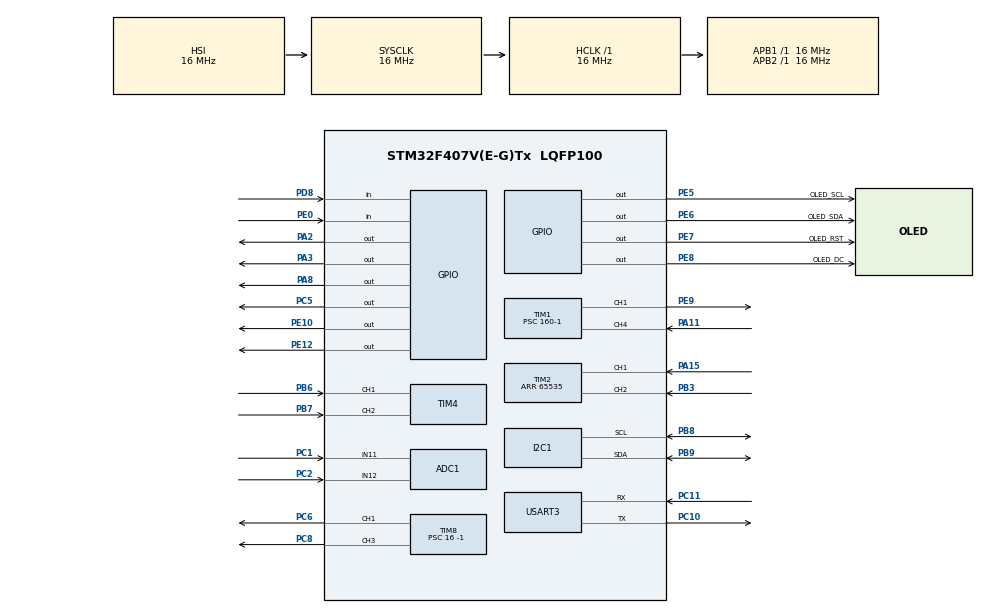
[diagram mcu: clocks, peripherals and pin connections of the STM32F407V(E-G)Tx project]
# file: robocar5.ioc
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ADC1.Channel-0\#ChannelRegularConversion=ADC_CHANNEL_11
ADC1.NbrOfConversionFlag=1
ADC1.Rank-0\#ChannelRegularConversion=1
ADC1.SamplingTime-0\#ChannelRegularConversion=ADC_SAMPLETIME_3CYCLES
ADC1.master=1
ADC2.Channel-0\#ChannelRegularConversion=ADC_CHANNEL_12
ADC2.NbrOfConversionFlag=1
ADC2.Rank-0\#ChannelRegularConversion=1
ADC2.SamplingTime-0\#ChannelRegularConversion=ADC_SAMPLETIME_3CYCLES
FREERTOS.Tasks01=defaultTask,24,128,StartDefaultTask,Default,NULL,Dynamic,NULL,NULL;UART_Task,8,128,StartUartTask,Default,NULL,Dynamic,NULL,NULL;ShowTask,8,128,StartShowTask,Default,NULL,Dynamic,NULL,NULL;PathBuilderTask,32,128,StartPathBuilderTask,Default,NULL,Dynamic,NULL,NULL;IRTask,8,128,IR,Default,NULL,Dynamic,NULL,NULL
FREERTOS.configUSE_NEWLIB_REENTRANT=1
Mcu.Family=STM32F4
Mcu.Name=STM32F407V(E-G)Tx
Mcu.Package=LQFP100
NVIC.PriorityGroup=NVIC_PRIORITYGROUP_4
NVIC.TIM1_CC_IRQn=true\:5\:0\:false\:false\:true\:true\:true\:true
NVIC.TIM8_TRG_COM_TIM14_IRQn=true\:15\:0\:false\:false\:true\:false\:false\:true
NVIC.TimeBase=TIM8_TRG_COM_TIM14_IRQn
NVIC.TimeBaseIP=TIM14
NVIC.USART3_IRQn=true\:5\:0\:false\:false\:true\:true\:true\:true
PA11.Signal=S_TIM1_CH4
PA15.Signal=S_TIM2_CH1_ETR
PA2.Signal=GPIO_Output
PA3.Signal=GPIO_Output
PA8.GPIO_ModeDefaultOutputPP=GPIO_MODE_OUTPUT_PP
PA8.Signal=GPIO_Output
PB3.Signal=S_TIM2_CH2
PB6.Signal=S_TIM4_CH1
PB7.Signal=S_TIM4_CH2
PB8.Mode=I2C
PB8.Signal=I2C1_SCL
PB9.Mode=I2C
PB9.Signal=I2C1_SDA
PC1.Signal=ADCx_IN11
PC10.Mode=Asynchronous
PC10.Signal=USART3_TX
PC11.Mode=Asynchronous
PC11.Signal=USART3_RX
PC2.Signal=ADCx_IN12
PC5.Signal=GPIO_Output
PC6.Signal=S_TIM8_CH1
PC8.Signal=S_TIM8_CH3
PD8.GPIO_PuPd=GPIO_PULLUP
PD8.Signal=GPIO_Input
PE0.GPIO_PuPd=GPIO_PULLUP
PE0.Signal=GPIO_Input
PE10.Signal=GPIO_Output
PE12.Signal=GPIO_Output
PE5.GPIO_Label=OLED_SCL
PE5.Signal=GPIO_Output
PE6.GPIO_Label=OLED_SDA
PE6.Signal=GPIO_Output
PE7.GPIO_Label=OLED_RST
PE7.Signal=GPIO_Output
PE8.GPIO_Label=OLED_DC
PE8.Signal=GPIO_Output
PE9.Signal=S_TIM1_CH1
ProjectManager.HeapSize=0x200
ProjectManager.StackSize=0x400
ProjectManager.TargetToolchain=STM32CubeIDE
RCC.AHBFreq_Value=16000000
RCC.APB1Freq_Value=16000000
RCC.APB2Freq_Value=16000000
RCC.CortexFreq_Value=16000000
RCC.HSE_VALUE=25000000
RCC.HSI_VALUE=16000000
RCC.LSE_VALUE=32768
RCC.SYSCLKFreq_VALUE=16000000
RCC.VCOOutputFreq_Value=192000000
SH.ADCx_IN11.0=ADC1_IN11,IN11
SH.ADCx_IN12.0=ADC1_IN12,IN12
SH.ADCx_IN12.1=ADC2_IN12,IN12
SH.S_TIM1_CH1.0=TIM1_CH1,PWM Generation1 CH1
SH.S_TIM1_CH4.0=TIM1_CH4,Input_Capture4_from_TI4
SH.S_TIM2_CH1_ETR.0=TIM2_CH1,Encoder_Interface
SH.S_TIM2_CH2.0=TIM2_CH2,Encoder_Interface
SH.S_TIM4_CH1.0=TIM4_CH1,Encoder_Interface
SH.S_TIM4_CH2.0=TIM4_CH2,Encoder_Interface
SH.S_TIM8_CH1.0=TIM8_CH1,PWM Generation1 CH1
SH.S_TIM8_CH3.0=TIM8_CH3,PWM Generation3 CH3
TIM1.Channel-Input_Capture4_from_TI4=TIM_CHANNEL_4
TIM1.Channel-PWM\ Generation1\ CH1=TIM_CHANNEL_1
TIM1.Period=1000-1
TIM1.Prescaler=160-1
TIM2.EncoderMode=TIM_ENCODERMODE_TI12
TIM2.IC1Filter=10
TIM2.IC2Filter=10
TIM2.Period=65535
TIM4.EncoderMode=TIM_ENCODERMODE_TI12
TIM8.Channel-PWM\ Generation1\ CH1=TIM_CHANNEL_1
TIM8.Channel-PWM\ Generation3\ CH3=TIM_CHANNEL_3
TIM8.Period=10000-1
TIM8.Prescaler=16 -1 
USART3.VirtualMode=VM_ASYNC
VP_FREERTOS_VS_CMSIS_V2.Mode=CMSIS_V2
VP_SYS_VS_tim14.Mode=TIM14
VP_TIM1_VS_ClockSourceINT.Mode=Internal
VP_TIM8_VS_ClockSourceINT.Mode=Internal
board=custom

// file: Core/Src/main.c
/* USER CODE BEGIN Header */
/**
  ******************************************************************************
  * @file           : main.c
  * @brief          : Main program body
  ******************************************************************************
  * @attention
  *
  * Copyright (c) 2022 STMicroelectronics.
  * All rights reserved.
  *
  * This software is licensed under terms that can be found in the LICENSE file
  * in the root directory of this software component.
  * If no LICENSE file comes with this software, it is provided AS-IS.
  *
  ******************************************************************************
  */
/* USER CODE END Header */
#include "main.h"
#include "cmsis_os.h"

/* USER CODE BEGIN Includes */
#include "stdlib.h"
#include "oled.h"
#include "encoder.h"
#include "motor.h"
#include "vehicleservo.h"
#include "diff.h"
#include "pid.h"
#include "speed.h"
#include "dist.h"
#include "uart.h"
#include "icm20948.h"
/* USER CODE END Includes */

/* USER CODE BEGIN PTD */
// read-only data (data that are taken from sensors)
typedef struct {
	encoder_control *motorLencoder;
	encoder_control *motorRencoder;
}Encoder_Data;

typedef struct {
	pid_control *motorLpid;
	pid_control *motorRpid;
	pid_control *anglepid;
}PID_Data;

typedef struct{
	motor_control *motorL;
	motor_control *motorR;
}Motor_Data;

typedef struct{
	vehicleservo_control *vehicleservo;
}VehicleServo_Data;

typedef struct{
	speed_subcontrol* motorLspeed;
	speed_subcontrol* motorRspeed;
	angle_subcontrol* servoangle;
	speed_control* mainspeed;
}Speed_Data;

typedef struct{
	float pid_kp_l;
	float pid_ki_l;
	float pid_kp_r;
	float pid_ki_r;
	float pid_kp_a;
	float pid_ki_a;
}Diff_Data;

// write-only data (data that are used mostly for controlling output Pheripheral )
typedef struct{
	uint8_t aRxBuffer[10];
    uint8_t aTxBuffer[10];
}UART_Data;

typedef struct{
	int stage;
	double distance;
	double distToObsEndtoEnd;
	double distToObsEdge;
	double distToObs;
	float ultrasensordist;
	int IRdistR;
	int IRdistL;
}Task2;

/* USER CODE END PTD */

ADC_HandleTypeDef hadc1;
ADC_HandleTypeDef hadc2;

I2C_HandleTypeDef hi2c1;

TIM_HandleTypeDef htim1;
TIM_HandleTypeDef htim2;
TIM_HandleTypeDef htim4;
TIM_HandleTypeDef htim8;

UART_HandleTypeDef huart3;

/* Definitions for defaultTask */
osThreadId_t defaultTaskHandle;
const osThreadAttr_t defaultTask_attributes = {
  .name = "defaultTask",
  .stack_size = 128 * 4,
  .priority = (osPriority_t) osPriorityNormal,
};
/* Definitions for UART_Task */
osThreadId_t UART_TaskHandle;
const osThreadAttr_t UART_Task_attributes = {
  .name = "UART_Task",
  .stack_size = 128 * 4,
  .priority = (osPriority_t) osPriorityLow,
};
/* Definitions for ShowTask */
osThreadId_t ShowTaskHandle;
const osThreadAttr_t ShowTask_attributes = {
  .name = "ShowTask",
  .stack_size = 128 * 4,
  .priority = (osPriority_t) osPriorityLow,
};
/* Definitions for PathBuilderTask */
osThreadId_t PathBuilderTaskHandle;
const osThreadAttr_t PathBuilderTask_attributes = {
  .name = "PathBuilderTask",
  .stack_size = 128 * 4,
  .priority = (osPriority_t) osPriorityAboveNormal,
};
/* Definitions for IRTask */
osThreadId_t IRTaskHandle;
const osThreadAttr_t IRTask_attributes = {
  .name = "IRTask",
  .stack_size = 128 * 4,
  .priority = (osPriority_t) osPriorityLow,
};
/* USER CODE BEGIN PV */

Encoder_Data encoderData;
PID_Data pidData;
Motor_Data motorData;
Diff_Data diffData;
UART_Data uartData;

Speed_Data speedData;
VehicleServo_Data vehicleservoData;

Task2 task2data;

/* USER CODE END PV */

void SystemClock_Config(void);
static void MX_GPIO_Init(void);
static void MX_TIM8_Init(void);
static void MX_USART3_UART_Init(void);
static void MX_TIM2_Init(void);
static void MX_TIM1_Init(void);
static void MX_TIM4_Init(void);
static void MX_I2C1_Init(void);
static void MX_ADC1_Init(void);
static void MX_ADC2_Init(void);
void StartDefaultTask(void *argument);
void StartUartTask(void *argument);
void StartShowTask(void *argument);
void StartPathBuilderTask(void *argument);
void IR(void *argument);

/* USER CODE BEGIN PFP */
void uart_switch(uint8_t* buff);
void run_movement_command(void);
/* USER CODE END PFP */

/* USER CODE BEGIN 0 */

int isnumchar(uint8_t cell){
	if (cell < 0x3a && cell > 0x29) return 1;
	else return 0;
}

int isalphachar(uint8_t cell){
	if (cell < 0x5b && cell > 0x40) return 1;
	else if (cell < 0x7b && cell > 0x60) return 1;
	else return 0;
}

void uart_switch(uint8_t * buff){
	  char aRead1[4];
	  char aRead2[4];

	  if 		(isalphachar(buff[0])
			  && isalphachar(buff[5])) {

		  sprintf(aRead1,"%c%c%c%c", (uartData.aRxBuffer[1]),(uartData.aRxBuffer[2]),(uartData.aRxBuffer[3]),(uartData.aRxBuffer[4]));
		  int n = atoi(aRead1);  //now n is 49 50 48 48

		  sprintf(aRead2,"%c%c%c%c", (uartData.aRxBuffer[6]),(uartData.aRxBuffer[7]),(uartData.aRxBuffer[8]),(uartData.aRxBuffer[9]));
		  int m = atoi(aRead2);  //now n is 49 50 48 48

		 switch(buff[0]){

			  case UART_FORWARD:
					//n = dist_get_motor_diststeps((double) n,0);
				  //icm20948_init(&hi2c1);
				speed_control_path_setup(speedData.mainspeed, 20, 100, (double) n, ((float)m) / 100,0,0,PATH_MODE_STR);
				speed_control_path_start(speedData.mainspeed);
				break;
			  case UART_FORWARD_RIGHT:
				//n = dist_get_motor_diststeps((double) n,0);
				  //icm20948_init(&hi2c1);
				speed_control_path_setup(speedData.mainspeed, 20, 100, (double) n, ((float)m) / 100,90,10,PATH_MODE_CURVE);
				speed_control_path_start(speedData.mainspeed);
				break;

			  case UART_FORWARD_LEFT:
				//n = dist_get_motor_diststeps((double) n,0);
				  //icm20948_init(&hi2c1);
				speed_control_path_setup(speedData.mainspeed, 20, 100, (double) n, -((float)m) / 100,90,10,PATH_MODE_CURVE);
				speed_control_path_start(speedData.mainspeed);
				break;

			  case UART_REVERSE:
				  //icm20948_init(&hi2c1);
				speed_control_path_setup(speedData.mainspeed, -20, 100, (double) n, ((float)m) / 100,0,0,PATH_MODE_STR);
				speed_control_path_start(speedData.mainspeed);
				break;

			  case UART_REVERSE_RIGHT:
				 // icm20948_init(&hi2c1);
				//n = dist_get_motor_diststeps((double) n,0);
				speed_control_path_setup(speedData.mainspeed, -20, 100, (double) n, ((float)m) / 100,90,10,PATH_MODE_CURVE);
				speed_control_path_start(speedData.mainspeed);
				break;

			  case UART_REVERSE_LEFT:
				 // icm20948_init(&hi2c1);
				//n = dist_get_motor_diststeps((double) n,0);
				speed_control_path_setup(speedData.mainspeed, -20, 100, (double) n, -((float)m) / 100,90,10,PATH_MODE_CURVE);
				speed_control_path_start(speedData.mainspeed);
				break;

			  case UART_GYRO_BIAS:
			    angle_subcontrol_set_leftanglemul(speedData.servoangle, (float) n / (float) 100 );
			    angle_subcontrol_set_rightanglemul(speedData.servoangle, (float) m / (float) 100);
				HAL_UART_Transmit(&huart3, (uint8_t *) "0000000000", 10, 0xFFFF);
				break;

			  case UART_AUTOCORRECT_TOGGLE:

				speed_control_toggle_correction(speedData.mainspeed,(float) n);
				HAL_UART_Transmit(&huart3, (uint8_t *) "0000000000", 10, 0xFFFF);
				break;
			  case UART_PROPORTION:

				diffData.pid_kp_l = (float) n / (float) 100;
				diffData.pid_kp_r = (float) m / (float) 100;
				HAL_UART_Transmit(&huart3, (uint8_t *) "0000000000", 10, 0xFFFF);
				break;

			  case UART_INTEGRAL:

				diffData.pid_ki_l = (float) n / (float) 10000;
				diffData.pid_ki_r = (float) m / (float) 10000;
				HAL_UART_Transmit(&huart3, (uint8_t *) "0000000000", 10, 0xFFFF);

				break;

			  case UART_START_TASK2:
				  task2data.stage = 0;

				  break;
			  case UART_POLL:
				  task2data.ultrasensordist	= m;
				  break;

			  default:
				HAL_UART_Transmit(&huart3, (uint8_t *) "FFFFFFFFFF", 10, 0xFFFF);

			}

	  }

}

/* USER CODE END 0 */

int main(void)
{

  /* MCU Configuration--------------------------------------------------------*/

  /* Reset of all peripherals, Initializes the Flash interface and the Systick. */
  HAL_Init();

  /* Configure the system clock */
  SystemClock_Config();

  /* Initialize all configured peripherals */
  MX_GPIO_Init();
  MX_TIM8_Init();
  MX_USART3_UART_Init();
  MX_TIM2_Init();
  MX_TIM1_Init();
  MX_TIM4_Init();
  MX_I2C1_Init();
  MX_ADC1_Init();
  MX_ADC2_Init();
  /* USER CODE BEGIN 2 */
  HAL_UART_Receive_IT(&huart3,  (uint8_t *) uartData.aRxBuffer, 10);
  /* USER CODE END 2 */

  /* Init scheduler */
  osKernelInitialize();

  /* Create the thread(s) */
  /* creation of defaultTask */
  defaultTaskHandle = osThreadNew(StartDefaultTask, NULL, &defaultTask_attributes);

  /* creation of UART_Task */
  UART_TaskHandle = osThreadNew(StartUartTask, NULL, &UART_Task_attributes);

  /* creation of ShowTask */
  ShowTaskHandle = osThreadNew(StartShowTask, NULL, &ShowTask_attributes);

  /* creation of PathBuilderTask */
  PathBuilderTaskHandle = osThreadNew(StartPathBuilderTask, NULL, &PathBuilderTask_attributes);

  /* creation of IRTask */
  IRTaskHandle = osThreadNew(IR, NULL, &IRTask_attributes);

  /* Start scheduler */
  osKernelStart();

  /* We should never get here as control is now taken by the scheduler */
  /* Infinite loop */
  while (1)
  {

  }
}

void SystemClock_Config(void)
{
  RCC_OscInitTypeDef RCC_OscInitStruct = {0};
  RCC_ClkInitTypeDef RCC_ClkInitStruct = {0};

  /** Configure the main internal regulator output voltage
  */
  __HAL_RCC_PWR_CLK_ENABLE();
  __HAL_PWR_VOLTAGESCALING_CONFIG(PWR_REGULATOR_VOLTAGE_SCALE1);
  /** Initializes the RCC Oscillators according to the specified parameters
  * in the RCC_OscInitTypeDef structure.
  */
  RCC_OscInitStruct.OscillatorType = RCC_OSCILLATORTYPE_HSI;
  RCC_OscInitStruct.HSIState = RCC_HSI_ON;
  RCC_OscInitStruct.HSICalibrationValue = RCC_HSICALIBRATION_DEFAULT;
  RCC_OscInitStruct.PLL.PLLState = RCC_PLL_NONE;
  if (HAL_RCC_OscConfig(&RCC_OscInitStruct) != HAL_OK)
  {
    Error_Handler();
  }
  /** Initializes the CPU, AHB and APB buses clocks
  */
  RCC_ClkInitStruct.ClockType = RCC_CLOCKTYPE_HCLK|RCC_CLOCKTYPE_SYSCLK
                              |RCC_CLOCKTYPE_PCLK1|RCC_CLOCKTYPE_PCLK2;
  RCC_ClkInitStruct.SYSCLKSource = RCC_SYSCLKSOURCE_HSI;
  RCC_ClkInitStruct.AHBCLKDivider = RCC_SYSCLK_DIV1;
  RCC_ClkInitStruct.APB1CLKDivider = RCC_HCLK_DIV1;
  RCC_ClkInitStruct.APB2CLKDivider = RCC_HCLK_DIV1;

  if (HAL_RCC_ClockConfig(&RCC_ClkInitStruct, FLASH_LATENCY_0) != HAL_OK)
  {
    Error_Handler();
  }
}

static void MX_ADC1_Init(void)
{

  ADC_ChannelConfTypeDef sConfig = {0};

  /** Configure the global features of the ADC (Clock, Resolution, Data Alignment and number of conversion)
  */
  hadc1.Instance = ADC1;
  hadc1.Init.ClockPrescaler = ADC_CLOCK_SYNC_PCLK_DIV2;
  hadc1.Init.Resolution = ADC_RESOLUTION_12B;
  hadc1.Init.ScanConvMode = DISABLE;
  hadc1.Init.ContinuousConvMode = DISABLE;
  hadc1.Init.DiscontinuousConvMode = DISABLE;
  hadc1.Init.ExternalTrigConvEdge = ADC_EXTERNALTRIGCONVEDGE_NONE;
  hadc1.Init.ExternalTrigConv = ADC_SOFTWARE_START;
  hadc1.Init.DataAlign = ADC_DATAALIGN_RIGHT;
  hadc1.Init.NbrOfConversion = 1;
  hadc1.Init.DMAContinuousRequests = DISABLE;
  hadc1.Init.EOCSelection = ADC_EOC_SINGLE_CONV;
  if (HAL_ADC_Init(&hadc1) != HAL_OK)
  {
    Error_Handler();
  }
  /** Configure for the selected ADC regular channel its corresponding rank in the sequencer and its sample time.
  */
  sConfig.Channel = ADC_CHANNEL_11;
  sConfig.Rank = 1;
  sConfig.SamplingTime = ADC_SAMPLETIME_3CYCLES;
  if (HAL_ADC_ConfigChannel(&hadc1, &sConfig) != HAL_OK)
  {
    Error_Handler();
  }

}

static void MX_ADC2_Init(void)
{

  ADC_ChannelConfTypeDef sConfig = {0};

  /** Configure the global features of the ADC (Clock, Resolution, Data Alignment and number of conversion)
  */
  hadc2.Instance = ADC2;
  hadc2.Init.ClockPrescaler = ADC_CLOCK_SYNC_PCLK_DIV2;
  hadc2.Init.Resolution = ADC_RESOLUTION_12B;
  hadc2.Init.ScanConvMode = DISABLE;
  hadc2.Init.ContinuousConvMode = DISABLE;
  hadc2.Init.DiscontinuousConvMode = DISABLE;
  hadc2.Init.ExternalTrigConvEdge = ADC_EXTERNALTRIGCONVEDGE_NONE;
  hadc2.Init.ExternalTrigConv = ADC_SOFTWARE_START;
  hadc2.Init.DataAlign = ADC_DATAALIGN_RIGHT;
  hadc2.Init.NbrOfConversion = 1;
  hadc2.Init.DMAContinuousRequests = DISABLE;
  hadc2.Init.EOCSelection = ADC_EOC_SINGLE_CONV;
  if (HAL_ADC_Init(&hadc2) != HAL_OK)
  {
    Error_Handler();
  }
  /** Configure for the selected ADC regular channel its corresponding rank in the sequencer and its sample time.
  */
  sConfig.Channel = ADC_CHANNEL_12;
  sConfig.Rank = 1;
  sConfig.SamplingTime = ADC_SAMPLETIME_3CYCLES;
  if (HAL_ADC_ConfigChannel(&hadc2, &sConfig) != HAL_OK)
  {
    Error_Handler();
  }

}

static void MX_I2C1_Init(void)
{

  hi2c1.Instance = I2C1;
  hi2c1.Init.ClockSpeed = 100000;
  hi2c1.Init.DutyCycle = I2C_DUTYCYCLE_2;
  hi2c1.Init.OwnAddress1 = 0;
  hi2c1.Init.AddressingMode = I2C_ADDRESSINGMODE_7BIT;
  hi2c1.Init.DualAddressMode = I2C_DUALADDRESS_DISABLE;
  hi2c1.Init.OwnAddress2 = 0;
  hi2c1.Init.GeneralCallMode = I2C_GENERALCALL_DISABLE;
  hi2c1.Init.NoStretchMode = I2C_NOSTRETCH_DISABLE;
  if (HAL_I2C_Init(&hi2c1) != HAL_OK)
  {
    Error_Handler();
  }

}

static void MX_TIM1_Init(void)
{

  TIM_ClockConfigTypeDef sClockSourceConfig = {0};
  TIM_MasterConfigTypeDef sMasterConfig = {0};
  TIM_OC_InitTypeDef sConfigOC = {0};
  TIM_IC_InitTypeDef sConfigIC = {0};
  TIM_BreakDeadTimeConfigTypeDef sBreakDeadTimeConfig = {0};

  htim1.Instance = TIM1;
  htim1.Init.Prescaler = 160-1;
  htim1.Init.CounterMode = TIM_COUNTERMODE_UP;
  htim1.Init.Period = 1000-1;
  htim1.Init.ClockDivision = TIM_CLOCKDIVISION_DIV1;
  htim1.Init.RepetitionCounter = 0;
  htim1.Init.AutoReloadPreload = TIM_AUTORELOAD_PRELOAD_DISABLE;
  if (HAL_TIM_Base_Init(&htim1) != HAL_OK)
  {
    Error_Handler();
  }
  sClockSourceConfig.ClockSource = TIM_CLOCKSOURCE_INTERNAL;
  if (HAL_TIM_ConfigClockSource(&htim1, &sClockSourceConfig) != HAL_OK)
  {
    Error_Handler();
  }
  if (HAL_TIM_PWM_Init(&htim1) != HAL_OK)
  {
    Error_Handler();
  }
  if (HAL_TIM_IC_Init(&htim1) != HAL_OK)
  {
    Error_Handler();
  }
  sMasterConfig.MasterOutputTrigger = TIM_TRGO_RESET;
  sMasterConfig.MasterSlaveMode = TIM_MASTERSLAVEMODE_DISABLE;
  if (HAL_TIMEx_MasterConfigSynchronization(&htim1, &sMasterConfig) != HAL_OK)
  {
    Error_Handler();
  }
  sConfigOC.OCMode = TIM_OCMODE_PWM1;
  sConfigOC.Pulse = 0;
  sConfigOC.OCPolarity = TIM_OCPOLARITY_HIGH;
  sConfigOC.OCNPolarity = TIM_OCNPOLARITY_HIGH;
  sConfigOC.OCFastMode = TIM_OCFAST_DISABLE;
  sConfigOC.OCIdleState = TIM_OCIDLESTATE_RESET;
  sConfigOC.OCNIdleState = TIM_OCNIDLESTATE_RESET;
  if (HAL_TIM_PWM_ConfigChannel(&htim1, &sConfigOC, TIM_CHANNEL_1) != HAL_OK)
  {
    Error_Handler();
  }
  sConfigIC.ICPolarity = TIM_INPUTCHANNELPOLARITY_RISING;
  sConfigIC.ICSelection = TIM_ICSELECTION_DIRECTTI;
  sConfigIC.ICPrescaler = TIM_ICPSC_DIV1;
  sConfigIC.ICFilter = 0;
  if (HAL_TIM_IC_ConfigChannel(&htim1, &sConfigIC, TIM_CHANNEL_4) != HAL_OK)
  {
    Error_Handler();
  }
  sBreakDeadTimeConfig.OffStateRunMode = TIM_OSSR_DISABLE;
  sBreakDeadTimeConfig.OffStateIDLEMode = TIM_OSSI_DISABLE;
  sBreakDeadTimeConfig.LockLevel = TIM_LOCKLEVEL_OFF;
  sBreakDeadTimeConfig.DeadTime = 0;
  sBreakDeadTimeConfig.BreakState = TIM_BREAK_DISABLE;
  sBreakDeadTimeConfig.BreakPolarity = TIM_BREAKPOLARITY_HIGH;
  sBreakDeadTimeConfig.AutomaticOutput = TIM_AUTOMATICOUTPUT_DISABLE;
  if (HAL_TIMEx_ConfigBreakDeadTime(&htim1, &sBreakDeadTimeConfig) != HAL_OK)
  {
    Error_Handler();
  }
  HAL_TIM_MspPostInit(&htim1);

}

static void MX_TIM2_Init(void)
{

  TIM_Encoder_InitTypeDef sConfig = {0};
  TIM_MasterConfigTypeDef sMasterConfig = {0};

  htim2.Instance = TIM2;
  htim2.Init.Prescaler = 0;
  htim2.Init.CounterMode = TIM_COUNTERMODE_UP;
  htim2.Init.Period = 65535;
  htim2.Init.ClockDivision = TIM_CLOCKDIVISION_DIV1;
  htim2.Init.AutoReloadPreload = TIM_AUTORELOAD_PRELOAD_DISABLE;
  sConfig.EncoderMode = TIM_ENCODERMODE_TI12;
  sConfig.IC1Polarity = TIM_ICPOLARITY_RISING;
  sConfig.IC1Selection = TIM_ICSELECTION_DIRECTTI;
  sConfig.IC1Prescaler = TIM_ICPSC_DIV1;
  sConfig.IC1Filter = 10;
  sConfig.IC2Polarity = TIM_ICPOLARITY_RISING;
  sConfig.IC2Selection = TIM_ICSELECTION_DIRECTTI;
  sConfig.IC2Prescaler = TIM_ICPSC_DIV1;
  sConfig.IC2Filter = 10;
  if (HAL_TIM_Encoder_Init(&htim2, &sConfig) != HAL_OK)
  {
    Error_Handler();
  }
  sMasterConfig.MasterOutputTrigger = TIM_TRGO_RESET;
  sMasterConfig.MasterSlaveMode = TIM_MASTERSLAVEMODE_DISABLE;
  if (HAL_TIMEx_MasterConfigSynchronization(&htim2, &sMasterConfig) != HAL_OK)
  {
    Error_Handler();
  }

}

static void MX_TIM4_Init(void)
{

  TIM_Encoder_InitTypeDef sConfig = {0};
  TIM_MasterConfigTypeDef sMasterConfig = {0};

  htim4.Instance = TIM4;
  htim4.Init.Prescaler = 0;
  htim4.Init.CounterMode = TIM_COUNTERMODE_UP;
  htim4.Init.Period = 65535;
  htim4.Init.ClockDivision = TIM_CLOCKDIVISION_DIV1;
  htim4.Init.AutoReloadPreload = TIM_AUTORELOAD_PRELOAD_DISABLE;
  sConfig.EncoderMode = TIM_ENCODERMODE_TI12;
  sConfig.IC1Polarity = TIM_ICPOLARITY_RISING;
  sConfig.IC1Selection = TIM_ICSELECTION_DIRECTTI;
  sConfig.IC1Prescaler = TIM_ICPSC_DIV1;
  sConfig.IC1Filter = 0;
  sConfig.IC2Polarity = TIM_ICPOLARITY_RISING;
  sConfig.IC2Selection = TIM_ICSELECTION_DIRECTTI;
  sConfig.IC2Prescaler = TIM_ICPSC_DIV1;
  sConfig.IC2Filter = 0;
  if (HAL_TIM_Encoder_Init(&htim4, &sConfig) != HAL_OK)
  {
    Error_Handler();
  }
  sMasterConfig.MasterOutputTrigger = TIM_TRGO_RESET;
  sMasterConfig.MasterSlaveMode = TIM_MASTERSLAVEMODE_DISABLE;
  if (HAL_TIMEx_MasterConfigSynchronization(&htim4, &sMasterConfig) != HAL_OK)
  {
    Error_Handler();
  }

}

static void MX_TIM8_Init(void)
{

  TIM_ClockConfigTypeDef sClockSourceConfig = {0};
  TIM_MasterConfigTypeDef sMasterConfig = {0};
  TIM_OC_InitTypeDef sConfigOC = {0};
  TIM_BreakDeadTimeConfigTypeDef sBreakDeadTimeConfig = {0};

  htim8.Instance = TIM8;
  htim8.Init.Prescaler = 16 -1 ;
  htim8.Init.CounterMode = TIM_COUNTERMODE_UP;
  htim8.Init.Period = 10000-1;
  htim8.Init.ClockDivision = TIM_CLOCKDIVISION_DIV1;
  htim8.Init.RepetitionCounter = 0;
  htim8.Init.AutoReloadPreload = TIM_AUTORELOAD_PRELOAD_DISABLE;
  if (HAL_TIM_Base_Init(&htim8) != HAL_OK)
  {
    Error_Handler();
  }
  sClockSourceConfig.ClockSource = TIM_CLOCKSOURCE_INTERNAL;
  if (HAL_TIM_ConfigClockSource(&htim8, &sClockSourceConfig) != HAL_OK)
  {
    Error_Handler();
  }
  if (HAL_TIM_PWM_Init(&htim8) != HAL_OK)
  {
    Error_Handler();
  }
  sMasterConfig.MasterOutputTrigger = TIM_TRGO_RESET;
  sMasterConfig.MasterSlaveMode = TIM_MASTERSLAVEMODE_DISABLE;
  if (HAL_TIMEx_MasterConfigSynchronization(&htim8, &sMasterConfig) != HAL_OK)
  {
    Error_Handler();
  }
  sConfigOC.OCMode = TIM_OCMODE_PWM1;
  sConfigOC.Pulse = 0;
  sConfigOC.OCPolarity = TIM_OCPOLARITY_HIGH;
  sConfigOC.OCNPolarity = TIM_OCNPOLARITY_HIGH;
  sConfigOC.OCFastMode = TIM_OCFAST_DISABLE;
  sConfigOC.OCIdleState = TIM_OCIDLESTATE_RESET;
  sConfigOC.OCNIdleState = TIM_OCNIDLESTATE_RESET;
  if (HAL_TIM_PWM_ConfigChannel(&htim8, &sConfigOC, TIM_CHANNEL_1) != HAL_OK)
  {
    Error_Handler();
  }
  if (HAL_TIM_PWM_ConfigChannel(&htim8, &sConfigOC, TIM_CHANNEL_3) != HAL_OK)
  {
    Error_Handler();
  }
  sBreakDeadTimeConfig.OffStateRunMode = TIM_OSSR_DISABLE;
  sBreakDeadTimeConfig.OffStateIDLEMode = TIM_OSSI_DISABLE;
  sBreakDeadTimeConfig.LockLevel = TIM_LOCKLEVEL_OFF;
  sBreakDeadTimeConfig.DeadTime = 0;
  sBreakDeadTimeConfig.BreakState = TIM_BREAK_DISABLE;
  sBreakDeadTimeConfig.BreakPolarity = TIM_BREAKPOLARITY_HIGH;
  sBreakDeadTimeConfig.AutomaticOutput = TIM_AUTOMATICOUTPUT_DISABLE;
  if (HAL_TIMEx_ConfigBreakDeadTime(&htim8, &sBreakDeadTimeConfig) != HAL_OK)
  {
    Error_Handler();
  }
  HAL_TIM_MspPostInit(&htim8);

}

static void MX_USART3_UART_Init(void)
{

  huart3.Instance = USART3;
  huart3.Init.BaudRate = 115200;
  huart3.Init.WordLength = UART_WORDLENGTH_8B;
  huart3.Init.StopBits = UART_STOPBITS_1;
  huart3.Init.Parity = UART_PARITY_NONE;
  huart3.Init.Mode = UART_MODE_TX_RX;
  huart3.Init.HwFlowCtl = UART_HWCONTROL_NONE;
  huart3.Init.OverSampling = UART_OVERSAMPLING_16;
  if (HAL_UART_Init(&huart3) != HAL_OK)
  {
    Error_Handler();
  }

}

static void MX_GPIO_Init(void)
{
  GPIO_InitTypeDef GPIO_InitStruct = {0};

  /* GPIO Ports Clock Enable */
  __HAL_RCC_GPIOE_CLK_ENABLE();
  __HAL_RCC_GPIOC_CLK_ENABLE();
  __HAL_RCC_GPIOA_CLK_ENABLE();
  __HAL_RCC_GPIOD_CLK_ENABLE();
  __HAL_RCC_GPIOB_CLK_ENABLE();

  /*Configure GPIO pin Output Level */
  HAL_GPIO_WritePin(GPIOE, OLED_SCL_Pin|OLED_SDA_Pin|OLED_RST_Pin|OLED_DC_Pin
                          |GPIO_PIN_10|GPIO_PIN_12, GPIO_PIN_RESET);

  /*Configure GPIO pin Output Level */
  HAL_GPIO_WritePin(GPIOA, GPIO_PIN_2|GPIO_PIN_3|GPIO_PIN_8, GPIO_PIN_RESET);

  /*Configure GPIO pin Output Level */
  HAL_GPIO_WritePin(GPIOC, GPIO_PIN_5, GPIO_PIN_RESET);

  /*Configure GPIO pins : OLED_SCL_Pin OLED_SDA_Pin OLED_RST_Pin OLED_DC_Pin
                           PE10 PE12 */
  GPIO_InitStruct.Pin = OLED_SCL_Pin|OLED_SDA_Pin|OLED_RST_Pin|OLED_DC_Pin
                          |GPIO_PIN_10|GPIO_PIN_12;
  GPIO_InitStruct.Mode = GPIO_MODE_OUTPUT_PP;
  GPIO_InitStruct.Pull = GPIO_NOPULL;
  GPIO_InitStruct.Speed = GPIO_SPEED_FREQ_LOW;
  HAL_GPIO_Init(GPIOE, &GPIO_InitStruct);

  /*Configure GPIO pins : PA2 PA3 PA8 */
  GPIO_InitStruct.Pin = GPIO_PIN_2|GPIO_PIN_3|GPIO_PIN_8;
  GPIO_InitStruct.Mode = GPIO_MODE_OUTPUT_PP;
  GPIO_InitStruct.Pull = GPIO_NOPULL;
  GPIO_InitStruct.Speed = GPIO_SPEED_FREQ_LOW;
  HAL_GPIO_Init(GPIOA, &GPIO_InitStruct);

  /*Configure GPIO pin : PC5 */
  GPIO_InitStruct.Pin = GPIO_PIN_5;
  GPIO_InitStruct.Mode = GPIO_MODE_OUTPUT_PP;
  GPIO_InitStruct.Pull = GPIO_NOPULL;
  GPIO_InitStruct.Speed = GPIO_SPEED_FREQ_LOW;
  HAL_GPIO_Init(GPIOC, &GPIO_InitStruct);

  /*Configure GPIO pin : PD8 */
  GPIO_InitStruct.Pin = GPIO_PIN_8;
  GPIO_InitStruct.Mode = GPIO_MODE_INPUT;
  GPIO_InitStruct.Pull = GPIO_PULLUP;
  HAL_GPIO_Init(GPIOD, &GPIO_InitStruct);

  /*Configure GPIO pin : PE0 */
  GPIO_InitStruct.Pin = GPIO_PIN_0;
  GPIO_InitStruct.Mode = GPIO_MODE_INPUT;
  GPIO_InitStruct.Pull = GPIO_PULLUP;
  HAL_GPIO_Init(GPIOE, &GPIO_InitStruct);

}

/* USER CODE BEGIN 4 */

uint16_t Value1, Value2, Time, State, Distance = 0;

void HAL_TIM_IC_CaptureCallback(TIM_HandleTypeDef *htim1)											   // Input Capture Mode
{
		if (State == 0)
		{
			Value1 = HAL_TIM_ReadCapturedValue(htim1, TIM_CHANNEL_4); 								   // Save First Value at Value1 ( RISING EDGE )
			State = 1;

			__HAL_TIM_SET_CAPTUREPOLARITY(htim1, TIM_CHANNEL_4, TIM_INPUTCHANNELPOLARITY_FALLING);	   // Change Capture Polarity to FALLING EDGE
		}

		else if (State == 1)
		{
			Value2 = HAL_TIM_ReadCapturedValue(htim1, TIM_CHANNEL_4);  								   // Save Second Value at Value2 ( FALLING EDGE )

			if (Value2 > Value1)
			{
				Time = Value2-Value1;
			}

			else if (Value1 > Value2)
			{
				Time = (65536 - Value1) + Value2;
			}

			Distance = Time * 0.034 / 2;
			State = 0;

			__HAL_TIM_SET_CAPTUREPOLARITY(htim1, TIM_CHANNEL_4, TIM_INPUTCHANNELPOLARITY_RISING);	   // Change Capture Polarity to RISING EDGE
		}
}

void HCSR04_Read (void)
{
	HAL_GPIO_WritePin(GPIOA, GPIO_PIN_8, GPIO_PIN_SET);
	HAL_Delay(10);
	HAL_GPIO_WritePin(GPIOA, GPIO_PIN_8, GPIO_PIN_RESET);
}

int distance = 0;

void HAL_UART_RxCpltCallback(UART_HandleTypeDef *huart)
{
	//HAL_UART_Transmit(&huart3, (uint8_t *) uartData.aRxBuffer, 10, 0xFFFF);

//	uint8_t test[20];
//	sprintf(test, "%s\0", uartData.aRxBuffer);
//	OLED_ShowString(10,10,test,20);
	//OLED_Refresh_Gram();

	UNUSED(huart);
	uart_switch(uartData.aRxBuffer);
	HAL_UART_Receive_IT(&huart3, (uint8_t *) uartData.aRxBuffer,10);
 }

/* USER CODE END 4 */

void StartDefaultTask(void *argument)
{
  /* USER CODE BEGIN 5 */

  /* Infinite loop */
  for(;;)
  {
//	  if (HAL_GPIO_ReadPin(GPIOE, GPIO_PIN_0)){
//
//	  }
	  //speed_control_run(speedData.mainspeed);
	  osDelay(6000000);

  }
  /* USER CODE END 5 */
}

void StartUartTask(void *argument)
{
  /* USER CODE BEGIN StartUartTask */
  /* Infinite loop */

  for(;;){
	  //HAL_UART_Transmit(&huart3, (uint8_t*) "I2566x2566", 10, 0xFFFF);
	  //HAL_UART_Receive (&huart3, receive, 4, 0xFFFF);  // receive 4 bytes of data

	  osDelay(100);
  }
  /* USER CODE END StartUartTask */
}

void StartShowTask(void *argument)
{
  /* USER CODE BEGIN StartShowTask */
  /* Infinite loop */
	 OLED_Init();
	 int arr[20];
	 OLED_Clear();

	 GPIO_PinState prevstate;
	 GPIO_PinState currstate = GPIO_PIN_RESET;
	 int screenstate = 3;
	 int totalstate = 3;

  for(;;)
  {

	prevstate = currstate;
	currstate = HAL_GPIO_ReadPin(GPIOD, GPIO_PIN_8);

	if (prevstate == GPIO_PIN_RESET  && currstate == GPIO_PIN_SET){
		 if (screenstate < totalstate - 1) screenstate++;
		 else screenstate = 0;
		 OLED_Clear();
		 OLED_Refresh_Gram();
	 }
	//int distance = 100;
	prevstate = currstate;
	 float tickprogl = speed_control_get_tickprogress_L(speedData.mainspeed)*100;
	 float tickprogr = speed_control_get_tickprogress_R(speedData.mainspeed)*100;
	 float pulseprogl = speed_control_get_pulseprogress_L(speedData.mainspeed)*100;
	 float pulseprogr = speed_control_get_pulseprogress_R(speedData.mainspeed)*100;
	 switch(screenstate){

		 case 0:
			 sprintf(arr, "Tick Based");
			 OLED_ShowString(10,0,arr,20);
			 sprintf(arr, "Lprogp :%6d", (int)round(tickprogl));
			 OLED_ShowString(10,10,arr,20);
			 sprintf(arr, "Rprogp :%6d", (int)round(tickprogr));
			 OLED_ShowString(10,20,arr,20);
			 sprintf(arr, "reqdis :%6d", (int)round(speedData.mainspeed->neededTotalTick));
			 OLED_ShowString(10,30,arr,20);
			 sprintf(arr, "Lprgdis:%6d",(int)round(speedData.mainspeed->LmotorProgressTick));
			 OLED_ShowString(10,40,arr,20);
			 sprintf(arr, "Rprodis:%6d", (int)round(speedData.mainspeed->RmotorProgressTick));
			 OLED_ShowString(10,50,arr,20);
		 break;
		 case 1:

			 sprintf(arr, "Pulse Based");
			 OLED_ShowString(10,0,arr,20);
			 sprintf(arr, "Lprogp :%6d", (int)round(pulseprogl));
			 OLED_ShowString(10,10,arr,20);
			 sprintf(arr, "Rprogp :%6d", (int)round(pulseprogr));
			 OLED_ShowString(10,20,arr,20);
			 sprintf(arr, "reqdis :%6d", (int)round(speedData.mainspeed->neededTotalPulse));
			 OLED_ShowString(10,30,arr,20);
			 sprintf(arr, "Lprgdis:%6d",(int)round(speedData.mainspeed->LmotorProgressPulse));
			 OLED_ShowString(10,40,arr,20);
			 sprintf(arr, "Rprodis:%6d", (int)round(speedData.mainspeed->RmotorProgressPulse));
			 OLED_ShowString(10,50,arr,20);
		 break;
		 case 2:
			 sprintf(arr, "Speed & Error");
			 OLED_ShowString(10,0,arr,20);
			 sprintf(arr, "LMotor :%6d", (int)round(speedData.motorLspeed->speed));
			 OLED_ShowString(10,10,arr,20);
			 sprintf(arr, "Rmotor :%6d", (int)round(speedData.motorRspeed->speed));
			 OLED_ShowString(10,20,arr,20);
			 sprintf(arr, "WA     :%6d", (int)round(speedData.mainspeed->requestedAngle));
			 OLED_ShowString(10,30,arr,20);
			 sprintf(arr, "Lerr   :%6d", (int)round(pidData.motorLpid->curr->Error));
			 OLED_ShowString(10,40,arr,20);
			 sprintf(arr, "Rerr   :%6d",(int)round(pidData.motorRpid->curr->Error));
			 OLED_ShowString(10,50,arr,20);
       break;

   }
	 OLED_Refresh_Gram();
	 osDelay(500); //every half a second
  }
  /* USER CODE END StartShowTask */
}

void StartPathBuilderTask(void *argument)
{
  /* USER CODE BEGIN StartPathBuilderTask */

	// VehicleServo Control
	vehicleservoData.vehicleservo = vehicleservo_init(&htim1, TIM_CHANNEL_1);

	//Motor Control
	motor_control_pin pin2, pin3, pin4, pin5;

	pin2.GPIOx = GPIOA; pin2.GPIO_Pin = GPIO_PIN_2;
	pin3.GPIOx = GPIOA; pin3.GPIO_Pin = GPIO_PIN_3;
	pin4.GPIOx = GPIOC; pin4.GPIO_Pin = GPIO_PIN_5;
	pin5.GPIOx = GPIOE; pin5.GPIO_Pin = GPIO_PIN_12;

	motorData.motorL = motor_init(&htim8, TIM_CHANNEL_1, pin3, pin2);
	motorData.motorR = motor_init(&htim8, TIM_CHANNEL_3, pin5, pin4);

	//Encoder Control
	encoderData.motorLencoder = encoder_init(&htim2);
	encoderData.motorRencoder = encoder_init(&htim4);

	//PID_Control
	//set default
	diffData.pid_ki_l = 0.01;
	diffData.pid_kp_l = 12;
	diffData.pid_ki_r = 0.01;
	diffData.pid_kp_r = 11;
	diffData.pid_ki_a = 0.0005;
	diffData.pid_kp_a = 8;

	pidData.motorLpid = pid_init(&(diffData.pid_kp_l),&(diffData.pid_ki_l)); //hyper parameter
	pidData.motorRpid = pid_init(&(diffData.pid_kp_r),&(diffData.pid_ki_r)); // hyper parameter
	pidData.anglepid = pid_init(&(diffData.pid_kp_a),&(diffData.pid_ki_a)); //hyper parameter

	//Speed_Control
	speedData.motorLspeed = speed_subcontrol_init(pidData.motorLpid,motorData.motorL,encoderData.motorLencoder);
	speedData.motorRspeed = speed_subcontrol_init(pidData.motorRpid,motorData.motorR,encoderData.motorRencoder);

	//gyro control
	icm20948_init(&hi2c1);
	speedData.servoangle = angle_subcontrol_init(pidData.anglepid,vehicleservoData.vehicleservo,&hi2c1);

	//Main Speed_Control
	speedData.mainspeed = speed_control_init(speedData.motorLspeed,speedData.motorRspeed,speedData.servoangle,&huart3);

	speed_control_set_callbackdistptr(speedData.mainspeed, &(task2data.distance));

  task2data.distToObs = 0;
  task2data.distToObsEdge = 0;
  task2data.ultrasensordist = 999;

  task2data.distance = 0;
  task2data.stage = -1;

  double Ladd = 0, Radd =0;

  double Lencodersum = 0;
  double Rencodersum = 0;
  double idealencodersum =0;

  vehicleservo_set_wheel_angle(speedData.mainspeed->angle_subctl->vehicleservo_ctl, 0);

  /* Infinite loop */

  for(;;)
  {

	 if (HAL_GPIO_ReadPin(GPIOE, GPIO_PIN_0)){
		 speed_control_run(speedData.mainspeed);
	 }else{

	 //fastest path tasks uses lower level pwm control over pid due to accuary issues

	 encoder_run(speedData.mainspeed->Lmotor_speed_subctl->encoder_ctl,200,ENCODER_DIRECTION_NATURAL);
	 encoder_run(speedData.mainspeed->Rmotor_speed_subctl->encoder_ctl,200,ENCODER_DIRECTION_FLIPPED);
	 Ladd = speedData.mainspeed->Lmotor_speed_subctl->encoder_ctl->currFrame->pulseDiff;
	 Radd = speedData.mainspeed->Rmotor_speed_subctl->encoder_ctl->currFrame->pulseDiff;
	 Lencodersum += Ladd;
	 Rencodersum += Radd;
	 idealencodersum = Lencodersum + Rencodersum;

	  switch(task2data.stage){
	  	  case 0:
	  		 vehicleservo_set_wheel_angle(speedData.mainspeed->angle_subctl->vehicleservo_ctl, 0);
			 motor_set_pwm(speedData.mainspeed->Lmotor_speed_subctl->motor_ctl, diff_get_Lmotor_values(0, 3980),MOTOR_PWM_NORMAL);
			 motor_set_pwm(speedData.mainspeed->Rmotor_speed_subctl->motor_ctl, diff_get_Rmotor_values(0, 4000),MOTOR_PWM_NORMAL);
			 if(task2data.ultrasensordist < 50) {
				 task2data.stage = 1;
				 Lencodersum = 0;
				 Rencodersum = 0;
			 }else if ( ((double)task2data.IRdistL /(double) task2data.IRdistR) > 1.23 || ((double)task2data.IRdistR / (double)task2data.IRdistL) > 1.23  ){
				 task2data.stage = 18;
				 Lencodersum = 0;
				 Rencodersum = 0;
			 }
			 break;
	  	  case 1: //brake
		  		 vehicleservo_set_wheel_angle(speedData.mainspeed->angle_subctl->vehicleservo_ctl, -30);
			 motor_set_pwm(speedData.mainspeed->Lmotor_speed_subctl->motor_ctl, diff_get_Lmotor_values(-30, 0),MOTOR_PWM_BRAKE);
			 motor_set_pwm(speedData.mainspeed->Rmotor_speed_subctl->motor_ctl,diff_get_Rmotor_values(-30, 0),MOTOR_PWM_BRAKE);
			 if (Ladd == 0 && Radd == 0) {
				 task2data.stage = 2;
				 Lencodersum = 0;
				 Rencodersum = 0;
			 }
			 break;
	  	  case 2: //turn 90 left
	  		vehicleservo_set_wheel_angle(speedData.mainspeed->angle_subctl->vehicleservo_ctl, -30);
			 motor_set_pwm(speedData.mainspeed->Lmotor_speed_subctl->motor_ctl, diff_get_Lmotor_values(-30, 4950),MOTOR_PWM_NORMAL);
			 motor_set_pwm(speedData.mainspeed->Rmotor_speed_subctl->motor_ctl,diff_get_Rmotor_values(-30, 5000),MOTOR_PWM_NORMAL);
			 if (idealencodersum > 250 /* turn distance*/) {
				 task2data.stage = 3;
				 Lencodersum = 0;
				 Rencodersum = 0;
			 }
			 break;
	  	  case 3: //brake
	  		vehicleservo_set_wheel_angle(speedData.mainspeed->angle_subctl->vehicleservo_ctl, 0);
			 motor_set_pwm(speedData.mainspeed->Lmotor_speed_subctl->motor_ctl, diff_get_Lmotor_values(0, 0),MOTOR_PWM_BRAKE);
			 motor_set_pwm(speedData.mainspeed->Rmotor_speed_subctl->motor_ctl,diff_get_Rmotor_values(0, 0),MOTOR_PWM_BRAKE);
			 if (Ladd == 0 && Radd == 0) {
				 task2data.stage = 4;
				 Lencodersum = 0;
				 Rencodersum = 0;
			 }
			 break;
	  	  case 4: //str parallel
	  		vehicleservo_set_wheel_angle(speedData.mainspeed->angle_subctl->vehicleservo_ctl, 0);
			 motor_set_pwm(speedData.mainspeed->Lmotor_speed_subctl->motor_ctl, diff_get_Lmotor_values(0,4950),MOTOR_PWM_NORMAL);
			 motor_set_pwm(speedData.mainspeed->Rmotor_speed_subctl->motor_ctl,diff_get_Rmotor_values(0, 5000),MOTOR_PWM_NORMAL);
			 if (idealencodersum > 40  /* str distance*/) {
				 task2data.stage = 5;
				 Lencodersum = 0;
				 Rencodersum = 0;
			 }
			 break;
	  	  case 5: //brake
		  	vehicleservo_set_wheel_angle(speedData.mainspeed->angle_subctl->vehicleservo_ctl, 30);
			motor_set_pwm(speedData.mainspeed->Lmotor_speed_subctl->motor_ctl, diff_get_Lmotor_values(0, 0),MOTOR_PWM_BRAKE);
			motor_set_pwm(speedData.mainspeed->Rmotor_speed_subctl->motor_ctl,diff_get_Rmotor_values(0, 0),MOTOR_PWM_BRAKE);
			 if (Ladd == 0 && Radd == 0) {
				 task2data.stage = 6;
				 Lencodersum = 0;
				 Rencodersum = 0;
			 }
			 break;
	  	  case 6: // turn 180
		  	vehicleservo_set_wheel_angle(speedData.mainspeed->angle_subctl->vehicleservo_ctl, 30);
			motor_set_pwm(speedData.mainspeed->Lmotor_speed_subctl->motor_ctl, diff_get_Lmotor_values(30, 4950),MOTOR_PWM_NORMAL);
			motor_set_pwm(speedData.mainspeed->Rmotor_speed_subctl->motor_ctl,diff_get_Rmotor_values(30, 5000),MOTOR_PWM_NORMAL);
			 if (idealencodersum >  800  /* turn distance*/) {
				 task2data.stage = 7;
				 Lencodersum = 0;
				 Rencodersum = 0;
			 }
			 break;
	  	  case 7: //brake
		  	vehicleservo_set_wheel_angle(speedData.mainspeed->angle_subctl->vehicleservo_ctl, 0);
			motor_set_pwm(speedData.mainspeed->Lmotor_speed_subctl->motor_ctl, diff_get_Lmotor_values(0, 0),MOTOR_PWM_BRAKE);
			motor_set_pwm(speedData.mainspeed->Rmotor_speed_subctl->motor_ctl,diff_get_Rmotor_values(0, 0),MOTOR_PWM_BRAKE);
			 if (Ladd == 0 && Radd == 0) {
				 task2data.stage = 8;
				 Lencodersum = 0;
				 Rencodersum = 0;
			 }
			 break;
	  	  case 8: //str parallel
		  	vehicleservo_set_wheel_angle(speedData.mainspeed->angle_subctl->vehicleservo_ctl, 0);
			motor_set_pwm(speedData.mainspeed->Lmotor_speed_subctl->motor_ctl, diff_get_Lmotor_values(0, 4950),MOTOR_PWM_NORMAL);
			motor_set_pwm(speedData.mainspeed->Rmotor_speed_subctl->motor_ctl,diff_get_Rmotor_values(0, 5000),MOTOR_PWM_NORMAL);
			 if (idealencodersum > 1320/*distance*/) {
				 task2data.stage = 9;
				 Lencodersum = 0;
				 Rencodersum = 0;
			 }
			 break;
	  	  case 9: //brake
		  	vehicleservo_set_wheel_angle(speedData.mainspeed->angle_subctl->vehicleservo_ctl, 30);
			motor_set_pwm(speedData.mainspeed->Lmotor_speed_subctl->motor_ctl, diff_get_Lmotor_values(0, 0),MOTOR_PWM_BRAKE);
			motor_set_pwm(speedData.mainspeed->Rmotor_speed_subctl->motor_ctl,diff_get_Rmotor_values(0, 0),MOTOR_PWM_BRAKE);
			 if (Ladd == 0 && Radd == 0) {
				 task2data.stage = 10;
				 Lencodersum = 0;
				 Rencodersum = 0;
			 }
			 break;
	  	  case 10: // turn 180
		  	vehicleservo_set_wheel_angle(speedData.mainspeed->angle_subctl->vehicleservo_ctl, 30);
			motor_set_pwm(speedData.mainspeed->Lmotor_speed_subctl->motor_ctl, diff_get_Lmotor_values(30, 4950),MOTOR_PWM_NORMAL);
			motor_set_pwm(speedData.mainspeed->Rmotor_speed_subctl->motor_ctl,diff_get_Rmotor_values(30, 5000),MOTOR_PWM_NORMAL);
			 if (idealencodersum > 800 /* turn distance*/) {
				 task2data.stage = 11;
				 Lencodersum = 0;
				 Rencodersum = 0;
			 }
			 break;
	  	  case 11: //brake
		  	vehicleservo_set_wheel_angle(speedData.mainspeed->angle_subctl->vehicleservo_ctl, 0);
			motor_set_pwm(speedData.mainspeed->Lmotor_speed_subctl->motor_ctl, diff_get_Lmotor_values(0, 0),MOTOR_PWM_BRAKE);
			motor_set_pwm(speedData.mainspeed->Rmotor_speed_subctl->motor_ctl,diff_get_Rmotor_values(0, 0),MOTOR_PWM_BRAKE);
			 if (Ladd == 0 && Radd == 0) {
				 task2data.stage = 12;
				 Lencodersum = 0;
				 Rencodersum = 0;
			 }
			 break;
	  	  case 12: //str parallel
		  	vehicleservo_set_wheel_angle(speedData.mainspeed->angle_subctl->vehicleservo_ctl, 0);
			motor_set_pwm(speedData.mainspeed->Lmotor_speed_subctl->motor_ctl, diff_get_Lmotor_values(0, 4950),MOTOR_PWM_NORMAL);
			motor_set_pwm(speedData.mainspeed->Rmotor_speed_subctl->motor_ctl,diff_get_Rmotor_values(0, 5000),MOTOR_PWM_NORMAL);
			 if (idealencodersum > 40/* turn distance*/) {
				 task2data.stage = 13;
				 Lencodersum = 0;
				 Rencodersum = 0;
			 }
			 break;
	  	  case 13: //brake
		  	vehicleservo_set_wheel_angle(speedData.mainspeed->angle_subctl->vehicleservo_ctl, -30);
			motor_set_pwm(speedData.mainspeed->Lmotor_speed_subctl->motor_ctl, diff_get_Lmotor_values(-30, 0),MOTOR_PWM_BRAKE);
			motor_set_pwm(speedData.mainspeed->Rmotor_speed_subctl->motor_ctl,diff_get_Rmotor_values(-30, 0),MOTOR_PWM_BRAKE);
			 if (Ladd == 0 && Radd == 0) {
				 task2data.stage = 14;
				 Lencodersum = 0;
				 Rencodersum = 0;
			 }
			 break;
	  	  case 14: // turn 90
		  	vehicleservo_set_wheel_angle(speedData.mainspeed->angle_subctl->vehicleservo_ctl, -30);
			motor_set_pwm(speedData.mainspeed->Lmotor_speed_subctl->motor_ctl, diff_get_Lmotor_values(-30, 5000),MOTOR_PWM_NORMAL);
			motor_set_pwm(speedData.mainspeed->Rmotor_speed_subctl->motor_ctl,diff_get_Rmotor_values(-30, 5000),MOTOR_PWM_NORMAL);
			 if (idealencodersum > 250 /* turn distance*/) {
				 task2data.stage = 15;
				 Lencodersum = 0;
				 Rencodersum = 0;
			 }
			 break;
	  	  case 15: //brake
		  	vehicleservo_set_wheel_angle(speedData.mainspeed->angle_subctl->vehicleservo_ctl, 0);
			motor_set_pwm(speedData.mainspeed->Lmotor_speed_subctl->motor_ctl, diff_get_Lmotor_values(0, 0),MOTOR_PWM_BRAKE);
			motor_set_pwm(speedData.mainspeed->Rmotor_speed_subctl->motor_ctl,diff_get_Rmotor_values(0, 0),MOTOR_PWM_BRAKE);
			 if (Ladd == 0 && Radd == 0) {
				 task2data.stage = 16;
				 Lencodersum = 0;
				 Rencodersum = 0;
			 }
			 break;
	  	  case 16:
	  		 vehicleservo_set_wheel_angle(speedData.mainspeed->angle_subctl->vehicleservo_ctl, 0);
			 motor_set_pwm(speedData.mainspeed->Lmotor_speed_subctl->motor_ctl, diff_get_Lmotor_values(0, 4950),MOTOR_PWM_NORMAL);
			 motor_set_pwm(speedData.mainspeed->Rmotor_speed_subctl->motor_ctl, diff_get_Rmotor_values(0, 5000),MOTOR_PWM_NORMAL);
			 if(task2data.ultrasensordist < 30 || (task2data.IRdistR > 2130 &&  task2data.IRdistL > 2130)) {
				 task2data.stage = 17;
				 Lencodersum = 0;
				 Rencodersum = 0;
			 }
			 break;
	  	  case 17: //brake
		  	vehicleservo_set_wheel_angle(speedData.mainspeed->angle_subctl->vehicleservo_ctl, 0);
			motor_set_pwm(speedData.mainspeed->Lmotor_speed_subctl->motor_ctl, diff_get_Lmotor_values(0, 0),MOTOR_PWM_BRAKE);
			motor_set_pwm(speedData.mainspeed->Rmotor_speed_subctl->motor_ctl,diff_get_Rmotor_values(0, 0),MOTOR_PWM_BRAKE);

			if (Ladd == 0 && Radd == 0) {
				 task2data.stage = -1;
				 HAL_UART_Transmit(&huart3, (uint8_t*) "0000000000", 10, 0xFFFF);
				 Lencodersum = 0;
				 Rencodersum = 0;
			 }
			 break;

		  //edgecase
	  	  case 18:
			vehicleservo_set_wheel_angle(speedData.mainspeed->angle_subctl->vehicleservo_ctl, 0);
			motor_set_pwm(speedData.mainspeed->Lmotor_speed_subctl->motor_ctl, diff_get_Lmotor_values(0, 0),MOTOR_PWM_BRAKE);
			motor_set_pwm(speedData.mainspeed->Rmotor_speed_subctl->motor_ctl,diff_get_Rmotor_values(0, 0),MOTOR_PWM_BRAKE);
			if (Ladd == 0 && Radd == 0) {
				 task2data.stage = 19;
				 Lencodersum = 0;
				 Rencodersum = 0;
			 }
			 break;

	  	  case 19:
	  		 vehicleservo_set_wheel_angle(speedData.mainspeed->angle_subctl->vehicleservo_ctl, 0);
			 motor_set_pwm(speedData.mainspeed->Lmotor_speed_subctl->motor_ctl, diff_get_Lmotor_values(0, -3920),MOTOR_PWM_NORMAL);
			 motor_set_pwm(speedData.mainspeed->Rmotor_speed_subctl->motor_ctl, diff_get_Rmotor_values(0, -4000),MOTOR_PWM_NORMAL);
			 if (idealencodersum < -100 ) {
				 task2data.stage = 1;
				 Lencodersum = 0;
				 Rencodersum = 0;
			 }
			 break;

	  }
	 }

    osDelay(100);
  }
  /* USER CODE END StartPathBuilderTask */
}

void IR(void *argument)
{
  /* USER CODE BEGIN IR */
	  /* Infinite loop */
		uint16_t IR_top, IR_bottom;
		char distance_top[10], distance_bottom[10];
	  for(;;)
	  {
		  HAL_ADC_Start(&hadc1);
		  HAL_ADC_Start(&hadc2);

		  IR_top = HAL_ADC_GetValue(&hadc1);
		  IR_bottom = HAL_ADC_GetValue(&hadc2);

//		  sprintf(distance_top, "%d", IR_top);
//		  sprintf(distance_bottom, "%d", IR_bottom);
//
//		  char distanceCombined[10];

		  task2data.IRdistR = ((int)IR_top*0.8) + (task2data.IRdistR*0.2) ;
		  task2data.IRdistL = ((int)IR_bottom*0.8)+( task2data.IRdistL*0.2) ;

		  //task2data.IRdist = ((int)IR_top + (int)IR_bottom + task2data.IRdist + task2data.IRdist )/4;

//		  char command = 'I';
//		  char separator = 'x';
//
//		  sprintf(distanceCombined, "%c%d%c%d", command, IR_top, separator, IR_bottom);

		  //HAL_UART_Transmit(&huart3, (uint8_t*) distanceCombined, 10, 0xFFFF);
		  //osDelay(10);
		  //HAL_UART_Transmit(&huart3, (uint8_t*) distance_bottom, 5, 0xFFFF);

	    osDelay(50);
  }
  /* USER CODE END IR */
}

void HAL_TIM_PeriodElapsedCallback(TIM_HandleTypeDef *htim)
{
  if (htim->Instance == TIM14) {
    HAL_IncTick();
  }
}

void Error_Handler(void)
{
  __disable_irq();
  while (1)
  {
  }
}

//  switch(task2data.stage){
//		 case 0:
//			 // start stage 1 & start movement towards obstacle
//
//			 //move vehicle
////			 speed_control_path_setup(speedData.mainspeed,speed -10,  100, 3000,0,0,0,PATH_MODE_STR);
////			 speed_control_path_start(speedData.mainspeed);
//			 //105L-152M-240R
//			 vehicleservo_set_wheel_angle(speedData.mainspeed->angle_subctl->vehicleservo_ctl,152);
//			 motor_set_pwm(speedData.mainspeed->Lmotor_speed_subctl->motor_ctl, 500,MOTOR_PWM_NORMAL);
//			 motor_set_pwm(speedData.mainspeed->Rmotor_speed_subctl->motor_ctl, 500,MOTOR_PWM_NORMAL);
//
//			 //set stage 1
//			 task2data.stage = 1;
//			 break;
//
//		 case 1:
//
//			 if ( task2data.IRdist > 2000 ){
//				 //break movement
//				 //speed_control_path_break(speedData.mainspeed, &task2data.distance);
//				 //set return distance to distToObs
//				 //task2data.distToObs = task2data.distance;
//				 //set return distance to 0
//				 //task2data.distance = 0;
//				 //reverse for turning space
////				 speed_control_path_setup(speedData.mainspeed,-speed + 10, 100, 100,0,0,0,PATH_MODE_STR);
////				 speed_control_path_start(speedData.mainspeed);
//
//				 motor_set_pwm(speedData.mainspeed->Lmotor_speed_subctl->motor_ctl, -500,MOTOR_PWM_NORMAL);
//				 motor_set_pwm(speedData.mainspeed->Rmotor_speed_subctl->motor_ctl, -500,MOTOR_PWM_NORMAL);
//
//				 task2data.stage = 2;
//			 }
//
//
//			 break;
//
//		 case 2:
//		 // stop movement twd obstacle when we reach 45 cm then record distance travelled for later
//		 // start stage 3 & turn left 90 degree
//
//		 if ( task2data.distance != 0 ){
//
//			 //set return distance to 0
//			 task2data.distance = 0;
//			 //turn left 90
//			 speed_control_toggle_correction(speedData.mainspeed, 5);
//			 speed_control_path_setup(speedData.mainspeed,speed, 100, 83,-30,90,25,PATH_MODE_CURVE);
//			 speed_control_path_start(speedData.mainspeed);
//			 speed_control_toggle_correction(speedData.mainspeed, 5);
//			 //set stage 3
//			 task2data.stage = 3;
//		 }
//
//
//		 case 3:
//			 //wait for vehicle to complete 90 degree turn
//			 //start stage 4 & move foward parallel to obstacle
//
//			 if (/*path completed / distance returned*/ task2data.distance != 0){
//				 task2data.distance = 0;
//				 //move vehicle
//				 speed_control_path_setup(speedData.mainspeed, speed, 100, 3000,0,0,0,PATH_MODE_STR);
//				 speed_control_path_start(speedData.mainspeed);
//				 //set stage 3
//				 task2data.stage = 4;
//			 }
//			 break;
//
//		 case 4:
//			 //stop movement beside obstacle when obstacle parallel end then record distance travelled for later
//			 //start stage 5 & turn 180 right around obstacle
//
//			 if (/*IR meet condition*/task2data.ultrasensordist>30){
//				 //break movement
//				 speed_control_path_break(speedData.mainspeed, &task2data.distance);
//				 //set return distance to distToObsEdge
//				 task2data.distToObsEdge = task2data.distance;
//				 //set return distance to 0
//				 task2data.distance = 0;
//				 //turn right 180
//				 speed_control_toggle_correction(speedData.mainspeed, 5);
//				 speed_control_path_setup(speedData.mainspeed, speed, 100, 120, 30,180,30,PATH_MODE_CURVE);
//				 speed_control_path_start(speedData.mainspeed);
//				 speed_control_toggle_correction(speedData.mainspeed, 5);
//				 //set stage 4
//				 task2data.stage = 5;
//			 }
//			 break;
//		 case 5:
//			 //wait for vehicle to complete 180 degree turn
//			 //start stage 6 & move foward parallel to obstacle
//
//			 if (task2data.distance != 0){
//				 task2data.distance = 0;
//				 //move vehicle
//				 speed_control_path_setup(speedData.mainspeed, speed, 100,3000,0,0,0,PATH_MODE_STR);
//				 speed_control_path_start(speedData.mainspeed);
//				 //set stage 5
//				 task2data.stage = 6;
//			 }
//			 break;
//
//		 case 6:
//			 // first reading after turn
//
//			if(task2data.ultrasensordist > 30 && gap == 0) overob = 1;
//
//			if(task2data.ultrasensordist <= 30) gap = 0;
//			else gap = 1;
//
//
//
//			 //stop movement beside obstacle when obstacle parallel end then record distance travelled for later
//			 //start stage 6 & turn 180 right around obstacle
//			 if (overob == 1){
//				 //break movement
//				 speed_control_path_break(speedData.mainspeed, &task2data.distance);
//				 //set return distance to distToObs
//				 task2data.distToObsEndtoEnd = task2data.distance;
//				 //set return distance to 0
//				 task2data.distance = 0;
//				 //turn left 180
//				 speed_control_path_setup(speedData.mainspeed, speed, 100, 0, 30,180,5,PATH_MODE_CURVE);
//				 speed_control_path_start(speedData.mainspeed);
//				 //set stage 6
//				 task2data.stage = 7;
//
//			 }
//			 break;
//
//
//		 case 7:
//
//			 //wait for vehicle to complete 180 degree turn
//			 //start stage 7 & move fwd parallel to obstacle
//			 if (/*path completed / distance returned*/task2data.distance != 0){
//				 task2data.distance = 0;
//				 //move vehicle
//				 speed_control_path_setup(speedData.mainspeed, speed, 100,task2data.distToObsEndtoEnd - task2data.distToObsEdge ,0,0,0,PATH_MODE_STR);
//				 speed_control_path_start(speedData.mainspeed);
//				 //set stage 7
//				 task2data.stage = 8;
//			 }
//			 break;
//
//		 case 8:
//
//			 //wait for vehicle to complete calculated 90 left turn
//			 //start stage 8 & move foward to start/end point
//			 if (/*path completed / distance returned*/task2data.distance != 0){
//				 //break movement
//				 speed_control_path_break(speedData.mainspeed, &(task2data.distance));
//				 //set return distance to distToObs
//
//				 //set return distance to 0
//				 task2data.distance = 0;
//				 //turn left 90
//				 speed_control_path_setup(speedData.mainspeed, speed, 100, 0,-30,90,5,PATH_MODE_CURVE);
//				 speed_control_path_start(speedData.mainspeed);
//				 //set stage 7
//				 task2data.stage = 9;
//			 }
//			 break;
//		 case 9:
//			 //wait for vehicle to complete str movement
//			 //start stage 9 to end path
//			 if (/*path completed / distance returned*/task2data.distance != 0){
//				 task2data.distance = 0;
//				 //move vehicle
//				 speed_control_path_setup(speedData.mainspeed, speed, 100,task2data.distToObsEdge ,0,0,0,PATH_MODE_STR);
//				 speed_control_path_start(speedData.mainspeed);
//				 //set stage 8
//				 task2data.stage = 10;
//			 }
//			 break;
//
//		 case 11:
//			 if(task2data.IRdist > 2000){
//				 speed_control_path_break(speedData.mainspeed, &(task2data.distance));
//				 //set return distance to 0
//				 task2data.distance = 0;
//				 HAL_UART_Transmit(&huart3, (uint8_t*) "0000000000", 10, 0xFFFF);
//			 }
//			 break;
//
//		 default:
//			 break;
//
//	 }
